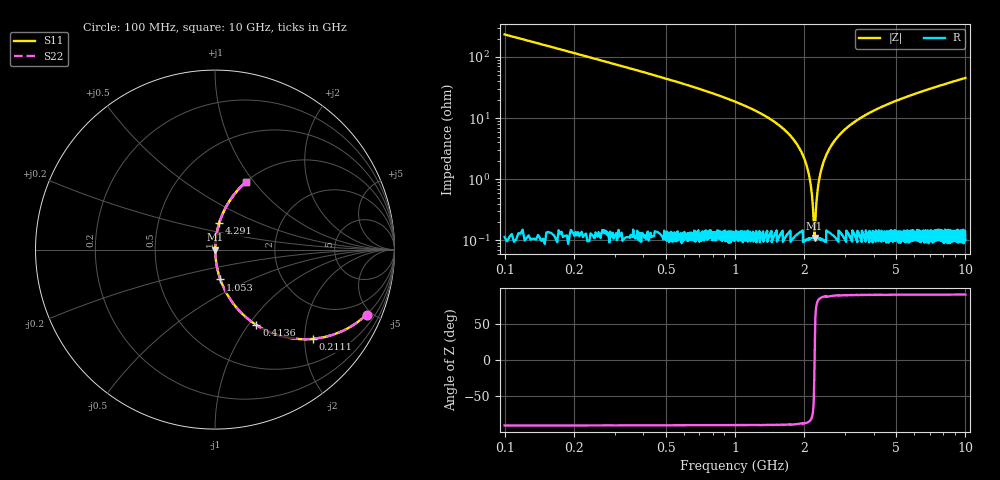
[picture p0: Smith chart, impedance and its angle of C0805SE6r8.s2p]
! AVX Thin Film Operation		Date: April 2012
! Description: Accu-P® Series, Thin Film, SMD, RF Capacitor
! Part Number: 08051J6R8BBTTR
!	100	MHz	-	10.05	GHz
!	Serial	Measurements
#	MHZ	S	MA	R	50
!	S11	S21	S12	S22
!	dB	Phase	dB	Phase	dB	Phase	dB	Phase
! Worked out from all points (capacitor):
!   4010 points, 100 MHz to 10 GHz, reference 50 ohm
!   read as one part in series: C = 6.8 pF near 149.4 MHz
!   lowest |Z| = 110 mohm at 2.214 GHz (marker M1)
!   series resonance near 2.214 GHz, so ESL is about 760 pH
!   S11 on the Smith chart (normalised r, x): 100 MHz: 1.00, -4.67; 211.1 MHz: 1.00, -2.20; 413.6 MHz: 1.00, -1.09; 1.053 GHz: 1.00, -0.34; 4.291 GHz: 1.00, +0.30; 10 GHz: 1.00, +0.91
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100  0.919 -23.2  0.394 66.8  0.394 66.8  0.919 -23.2
211.125  0.739 -42.3  0.673 47.7  0.673 47.7  0.739 -42.3
413.619  0.479 -61.3  0.877 28.6  0.877 28.6  0.479 -61.3
658.094  0.308 -71.8  0.95 17.9  0.95 17.9  0.308 -71.8
1053.205  0.169 -79.9  0.984 9.7  0.984 9.7  0.169 -79.9
1752.058  0.05 -85.8  0.998 2.9  0.998 2.9  0.05 -85.8
1929.858  0.029 -86.0  0.998 1.7  0.998 1.7  0.029 -86.0
2045.922  0.017 -84.9  0.999 1.0  0.999 1.0  0.017 -84.9
2115.066  0.0097 -82.3  0.999 0.6  0.999 0.6  0.0097 -82.3
2181.741  0.00329 -68.5  0.999 0.2  0.999 0.2  0.00329 -68.5
2213.844  0.0012 0.9  0.999 -0.0  0.999 -0.0  0.0012 0.9
2243.477  0.00307 66.9  0.999 -0.2  0.999 -0.2  0.00307 66.9
2292.866  0.00752 80.4  0.999 -0.4  0.999 -0.4  0.00752 80.4
2347.194  0.012 83.8  0.999 -0.7  0.999 -0.7  0.012 83.8
2524.994  0.028 85.9  0.998 -1.6  0.998 -1.6  0.028 85.9
2883.063  0.056 85.6  0.997 -3.2  0.997 -3.2  0.056 85.6
3401.646  0.093 83.9  0.994 -5.3  0.994 -5.3  0.093 83.9
4290.646  0.149 81.0  0.988 -8.5  0.988 -8.5  0.149 81.0
5051.235  0.191 78.6  0.98 -11.0  0.98 -11.0  0.191 78.6
6700.823  0.274 73.9  0.961 -15.9  0.961 -15.9  0.274 73.9
8350.412  0.347 69.5  0.937 -20.3  0.937 -20.3  0.347 69.5
10000  0.413 65.4  0.91 -24.4  0.91 -24.4  0.413 65.4
